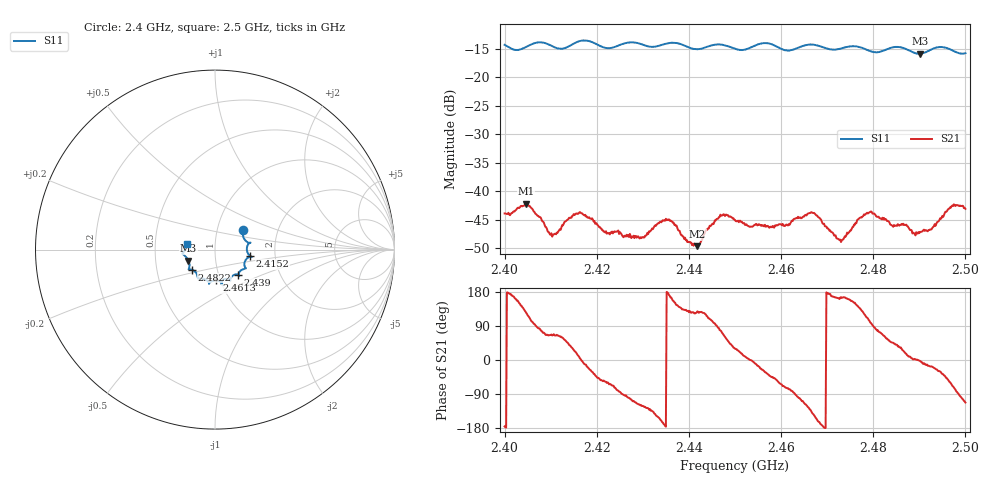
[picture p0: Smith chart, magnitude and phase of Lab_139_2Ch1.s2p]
# Hz S RI R 50
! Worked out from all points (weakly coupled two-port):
!   601 points, 2.4 GHz to 2.5 GHz, reference 50 ohm
!   highest |S21| = -42.22 dB at 2.4047 GHz (marker M1); lowest = -49.7 dB at 2.4418 GHz (marker M2)
!   lowest |S11| = -15.9 dB at 2.4902 GHz (marker M3), VSWR 1.38, Z = 36.9 - j4.65 ohm
!   |S11| at or under -10 dB: start of sweep to end of sweep
!   S12 and S22 are empty: the file has one direction only
!   S11 on the Smith chart (normalised r, x): 2.4 GHz: 1.33, +0.31; 2.4152 GHz: 1.48, -0.11; 2.439 GHz: 1.24, -0.36; 2.4613 GHz: 0.96, -0.34; 2.4822 GHz: 0.76, -0.17; 2.5 GHz: 0.72, +0.05
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2.4e9  0.1562 0.1114  -0.00635 -0.000523  0 0  0 0
2.404667e9  0.1791 0.0417  -0.00445 0.00634  0 0  0 0
2.410333e9  0.1847 0.0288  0.0017 0.00361  0 0  0 0
2.415167e9  0.1949 -0.0356  0.00565 0.00247  0 0  0 0
2.416667e9  0.2045 -0.0416  0.00639 -0.000135  0 0  0 0
2.426167e9  0.17 -0.1022  -0.000283 -0.00405  0 0  0 0
2.429833e9  0.161 -0.1077  -0.00205 -0.00336  0 0  0 0
2.433333e9  0.1329 -0.1326  -0.00459 -0.00252  0 0  0 0
2.436167e9  0.1349 -0.1476  -0.00526 0.00142  0 0  0 0
2.439e9  0.1281 -0.1393  -0.00256 0.00281  0 0  0 0
2.441833e9  0.1 -0.1444  -0.00204 0.00258  0 0  0 0
2.447e9  0.0855 -0.1728  0.00144 0.00591  0 0  0 0
2.45e9  0.0687 -0.1634  0.00484 0.0028  0 0  0 0
2.461333e9  0.00799 -0.1708  0.00134 -0.00485  0 0  0 0
2.466667e9  -0.0333 -0.1902  -0.00487 -0.00434  0 0  0 0
2.473e9  -0.077 -0.1605  -0.00347 0.000883  0 0  0 0
2.4785e9  -0.0988 -0.1437  -0.00252 0.00584  0 0  0 0
2.482167e9  -0.1282 -0.1119  0.00238 0.00511  0 0  0 0
2.483333e9  -0.1394 -0.1105  0.00327 0.0043  0 0  0 0
2.490167e9  -0.148 -0.0615  0.00439 -0.000203  0 0  0 0
2.497167e9  -0.1713 -0.0099  0.00276 -0.00694  0 0  0 0
2.5e9  -0.1586 0.0335  -0.00264 -0.00647  0 0  0 0
